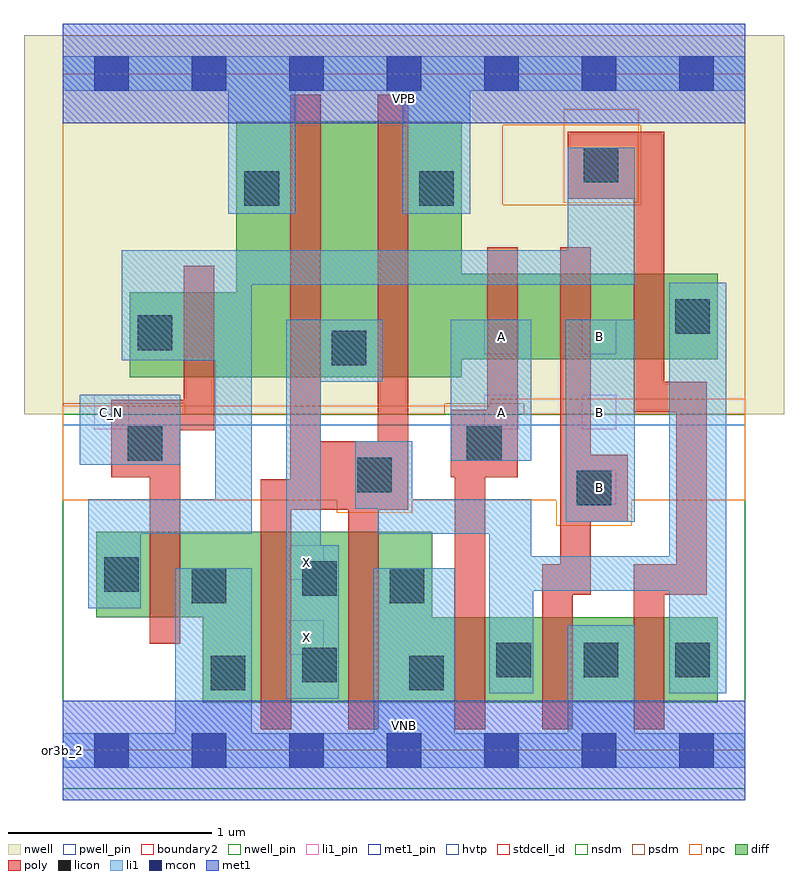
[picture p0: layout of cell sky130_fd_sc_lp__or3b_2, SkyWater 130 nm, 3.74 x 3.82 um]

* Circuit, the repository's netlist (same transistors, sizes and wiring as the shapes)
* Copyright 2020 The SkyWater PDK Authors
*
* Licensed under the Apache License, Version 2.0 (the "License");
* you may not use this file except in compliance with the License.
* You may obtain a copy of the License at
*
*     https://www.apache.org/licenses/LICENSE-2.0
*
* Unless required by applicable law or agreed to in writing, software
* distributed under the License is distributed on an "AS IS" BASIS,
* WITHOUT WARRANTIES OR CONDITIONS OF ANY KIND, either express or implied.
* See the License for the specific language governing permissions and
* limitations under the License.
*
* SPDX-License-Identifier: Apache-2.0

.SUBCKT sky130_fd_sc_lp__or3b_2 A B C_N VGND VNB VPB VPWR X
*.PININFO A:I B:I C_N:I VGND:I VNB:I VPB:I VPWR:I X:O
MMP0 VPWR A sndPA VPB sky130_fd_pr__pfet_01v8_hvt m=1 w=0.42U l=0.15U mult=1 sa=0.265
+ sb=0.265 sd=0.28 area=0.063 perim=1.14
MMP1 sndPA B sndPB VPB sky130_fd_pr__pfet_01v8_hvt m=1 w=0.42U l=0.15U mult=1 sa=0.265
+ sb=0.265 sd=0.28 area=0.063 perim=1.14
MMP2 sndPB C y VPB sky130_fd_pr__pfet_01v8_hvt m=1 w=0.42U l=0.15U mult=1 sa=0.265
+ sb=0.265 sd=0.28 area=0.063 perim=1.14
MMIP2 C C_N VPWR VPB sky130_fd_pr__pfet_01v8_hvt m=1 w=0.42U l=0.15U mult=1 sa=0.265
+ sb=0.265 sd=0.28 area=0.063 perim=1.14
MMIP3 X y VPWR VPB sky130_fd_pr__pfet_01v8_hvt m=2 w=1.26U l=0.15U mult=1 sa=0.265
+ sb=0.265 sd=0.28 area=0.063 perim=1.14
MMN0 y A VGND VNB sky130_fd_pr__nfet_01v8 m=1 w=0.42U l=0.15U mult=1 sa=0.265 sb=0.265
+ sd=0.28 area=0.063 perim=1.14
MMN1 y B VGND VNB sky130_fd_pr__nfet_01v8 m=1 w=0.42U l=0.15U mult=1 sa=0.265 sb=0.265
+ sd=0.28 area=0.063 perim=1.14
MMN2 y C VGND VNB sky130_fd_pr__nfet_01v8 m=1 w=0.42U l=0.15U mult=1 sa=0.265 sb=0.265
+ sd=0.28 area=0.063 perim=1.14
MMIN2 C C_N VGND VNB sky130_fd_pr__nfet_01v8 m=1 w=0.42U l=0.15U mult=1 sa=0.265
+ sb=0.265 sd=0.28 area=0.063 perim=1.14
MMIN3 X y VGND VNB sky130_fd_pr__nfet_01v8 m=2 w=0.84U l=0.15U mult=1 sa=0.265
+ sb=0.265 sd=0.28 area=0.063 perim=1.14
.ENDS sky130_fd_sc_lp__or3b_2

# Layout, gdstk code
import gdstk
lib = gdstk.Library(unit=1e-6, precision=1e-09)
def R(c, l, rs):  # rectangles x0, y0, x1, y1
    for r in rs: c.add(gdstk.rectangle(r[:2], r[2:], *l))
def A(c, l, x, y, w, h, nx, ny, dx, dy):  # array of equal rectangles
    R(c, l, [(x+i*dx, y+j*dy, x+i*dx+w, y+j*dy+h) for i in range(nx) for j in range(ny)])
def P(c, l, *ps):  # polygons
    for p in ps: c.add(gdstk.Polygon(p, *l))
nwell_pin = (64, 16)
nwell = (64, 20)
diff = (65, 20)
poly = (66, 20)
licon = (66, 44)
li1_pin = (67, 16)
li1 = (67, 20)
mcon = (67, 44)
met1_pin = (68, 16)
met1 = (68, 20)
hvtp = (78, 44)
stdcell_id = (81, 4)
nsdm = (93, 44)
psdm = (94, 20)
npc = (95, 20)
pwell_pin = (122, 16)
boundary2 = (236, 0)

sky130_fd_sc_lp__or3b_2 = lib.new_cell('sky130_fd_sc_lp__or3b_2')
R(sky130_fd_sc_lp__or3b_2, nwell_pin, [(0,3.085,3.36,3.33)])
R(sky130_fd_sc_lp__or3b_2, nwell, [(-0.19,1.655,3.55,3.52)])
P(sky130_fd_sc_lp__or3b_2, diff, [(3.225,2.345),(1.965,2.345),(1.965,3.095),(0.855,3.095),(0.855,2.255),(0.33,2.255),(0.33,1.835),(1.965,1.835),(1.965,1.925),(3.225,1.925)],
  [(3.225,0.655),(1.82,0.655),(1.82,1.075),(0.165,1.075),(0.165,0.655),(0.69,0.655),(0.69,0.235),(3.225,0.235)])
P(sky130_fd_sc_lp__or3b_2, poly, [(0.745,2.385),(0.595,2.385),(0.595,1.725),(0.24,1.725),(0.24,1.345),(0.43,1.345),(0.43,0.525),(0.58,0.525),(0.58,1.575),(0.745,1.575)],
  [(1.7,3.225),(1.55,3.225),(1.55,1.52),(1.27,1.52),(1.27,3.225),(1.12,3.225),(1.12,1.335),(0.975,1.335),(0.975,0.105),(1.125,0.105),(1.125,1.185),(1.405,1.185),(1.405,0.105),(1.555,0.105),(1.555,1.185),(1.7,1.185)],
  [(2.24,2.475),(2.09,2.475),(2.09,1.675),(1.91,1.675),(1.91,1.345),(1.93,1.345),(1.93,0.105),(2.08,0.105),(2.08,1.345),(2.24,1.345)],
  [(2.78,1.455),(2.6,1.455),(2.6,2.475),(2.45,2.475),(2.45,0.915),(2.36,0.915),(2.36,0.105),(2.51,0.105),(2.51,0.765),(2.6,0.765),(2.6,1.125),(2.78,1.125)],
  [(3.17,1.815),(2.96,1.815),(2.96,3.045),(2.485,3.045),(2.485,2.715),(2.81,2.715),(2.81,1.665),(3.02,1.665),(3.02,0.915),(2.81,0.915),(2.81,0.105),(2.96,0.105),(2.96,0.765),(3.17,0.765)])
R(sky130_fd_sc_lp__or3b_2, licon, [(0.73,0.295,0.9,0.465), (1.705,0.295,1.875,0.465), (1.18,0.335,1.35,0.505), (2.135,0.36,2.305,0.53), (2.565,0.36,2.735,0.53), (3.015,0.36,3.185,0.53), (0.635,0.725,0.805,0.895), (1.61,0.725,1.78,0.895), (1.18,0.76,1.35,0.93), (0.205,0.78,0.375,0.95), (2.53,1.205,2.7,1.375), (1.45,1.27,1.62,1.44), (0.32,1.425,0.49,1.595), (1.99,1.425,2.16,1.595), (1.325,1.895,1.495,2.065), (0.37,1.97,0.54,2.14), (3.015,2.05,3.185,2.22), (0.895,2.68,1.065,2.85), (1.755,2.68,1.925,2.85), (2.565,2.795,2.735,2.965)])
A(sky130_fd_sc_lp__or3b_2, li1_pin, 2.555, 1.21, 0.17, 0.17, 1, 3, 0, 0.37)
R(sky130_fd_sc_lp__or3b_2, li1_pin, [(1.115,0.47,1.285,0.64), (1.115,0.84,1.285,1.01), (0.155,1.58,0.325,1.75), (2.075,1.58,2.245,1.75), (2.075,1.95,2.245,2.12)])
R(sky130_fd_sc_lp__or3b_2, li1, [(2.475,1.125,2.815,2.12), (0.085,1.405,0.58,1.75), (1.91,1.425,2.305,2.12)])
P(sky130_fd_sc_lp__or3b_2, li1, [(1.675,2.64),(1.675,3.245),(1.145,3.245),(1.145,2.64),(0.815,2.64),(0.815,3.245),(0,3.245),(0,3.415),(3.36,3.415),(3.36,3.245),(2.005,3.245),(2.005,2.64)],
  [(2.485,0.085),(2.485,0.615),(2.815,0.615),(2.815,0.085),(3.36,0.085),(3.36,-0.085),(0,-0.085),(0,0.085),(0.555,0.085),(0.555,0.895),(0.93,0.895),(0.93,0.085),(1.53,0.085),(1.53,0.895),(1.93,0.895),(1.93,0.085)],
  [(0.29,1.92),(0.29,2.46),(2.485,2.46),(2.485,2.965),(2.815,2.965),(2.815,2.29),(0.93,2.29),(0.93,1.065),(0.385,1.065),(0.385,0.7),(0.125,0.7),(0.125,1.235),(0.75,1.235),(0.75,1.92)],
  [(1.1,0.255),(1.1,2.12),(1.575,2.12),(1.575,1.815),(1.27,1.815),(1.27,1.01),(1.36,1.01),(1.36,0.255)],
  [(2.985,0.28),(2.985,0.785),(2.315,0.785),(2.315,0.28),(2.1,0.28),(2.1,1.065),(1.55,1.065),(1.55,1.19),(1.44,1.19),(1.44,1.52),(1.72,1.52),(1.72,1.235),(2.305,1.235),(2.305,0.955),(2.985,0.955),(2.985,2.3),(3.265,2.3),(3.265,0.28)])
A(sky130_fd_sc_lp__or3b_2, mcon, 0.155, -0.085, 0.17, 0.17, 7, 2, 0.48, 3.33)
R(sky130_fd_sc_lp__or3b_2, met1_pin, [(0,0,3.36,0.245), (0,3.085,3.36,3.33)])
R(sky130_fd_sc_lp__or3b_2, met1, [(0,-0.245,3.36,0.245), (0,3.085,3.36,3.575)])
R(sky130_fd_sc_lp__or3b_2, hvtp, [(0,1.6,3.36,3.33)])
R(sky130_fd_sc_lp__or3b_2, stdcell_id, [(0,0,3.36,3.33)])
R(sky130_fd_sc_lp__or3b_2, nsdm, [(0,-0.19,3.36,1.655)])
P(sky130_fd_sc_lp__or3b_2, psdm, [(3.36,3.52),(2.845,3.52),(2.845,2.685),(2.165,2.685),(2.165,3.075),(2.845,3.075),(2.845,3.52),(0,3.52),(0,1.705),(0.6,1.705),(0.6,1.655),(1.88,1.655),(1.88,1.705),(2.27,1.705),(2.27,1.655),(3.36,1.655)])
R(sky130_fd_sc_lp__or3b_2, npc, [(2.465,2.695,2.835,3.155)])
P(sky130_fd_sc_lp__or3b_2, npc, [(3.36,1.73),(2.105,1.73),(2.105,1.695),(0,1.695),(0,1.23),(1.35,1.23),(1.35,1.17),(1.72,1.17),(1.72,1.23),(2.43,1.23),(2.43,1.105),(2.8,1.105),(2.8,1.23),(3.36,1.23)])
R(sky130_fd_sc_lp__or3b_2, pwell_pin, [(0,0,3.36,0.245)])
R(sky130_fd_sc_lp__or3b_2, boundary2, [(0,0,3.36,3.33)])
sky130_fd_sc_lp__or3b_2.add(gdstk.Label('VNB', (1.68,0.123), layer=64, texttype=59))
sky130_fd_sc_lp__or3b_2.add(gdstk.Label('VPB', (1.68,3.208), layer=64, texttype=5))
sky130_fd_sc_lp__or3b_2.add(gdstk.Label('or3b_2', (0,0), layer=83, texttype=44))
sky130_fd_sc_lp__or3b_2.add(gdstk.Label('VPWR', (1.68,3.208), layer=68, texttype=5))
sky130_fd_sc_lp__or3b_2.add(gdstk.Label('VGND', (1.68,0.123), layer=68, texttype=5))
sky130_fd_sc_lp__or3b_2.add(gdstk.Label('X', (1.2,0.555), layer=67, texttype=5))
sky130_fd_sc_lp__or3b_2.add(gdstk.Label('X', (1.2,0.925), layer=67, texttype=5))
sky130_fd_sc_lp__or3b_2.add(gdstk.Label('A', (2.16,1.665), layer=67, texttype=5))
sky130_fd_sc_lp__or3b_2.add(gdstk.Label('A', (2.16,2.035), layer=67, texttype=5))
sky130_fd_sc_lp__or3b_2.add(gdstk.Label('B', (2.64,1.295), layer=67, texttype=5))
sky130_fd_sc_lp__or3b_2.add(gdstk.Label('B', (2.64,1.665), layer=67, texttype=5))
sky130_fd_sc_lp__or3b_2.add(gdstk.Label('B', (2.64,2.035), layer=67, texttype=5))
sky130_fd_sc_lp__or3b_2.add(gdstk.Label('C_N', (0.24,1.665), layer=67, texttype=5))

lib.write_gds('sky130_fd_sc_lp__or3b_2.gds')
